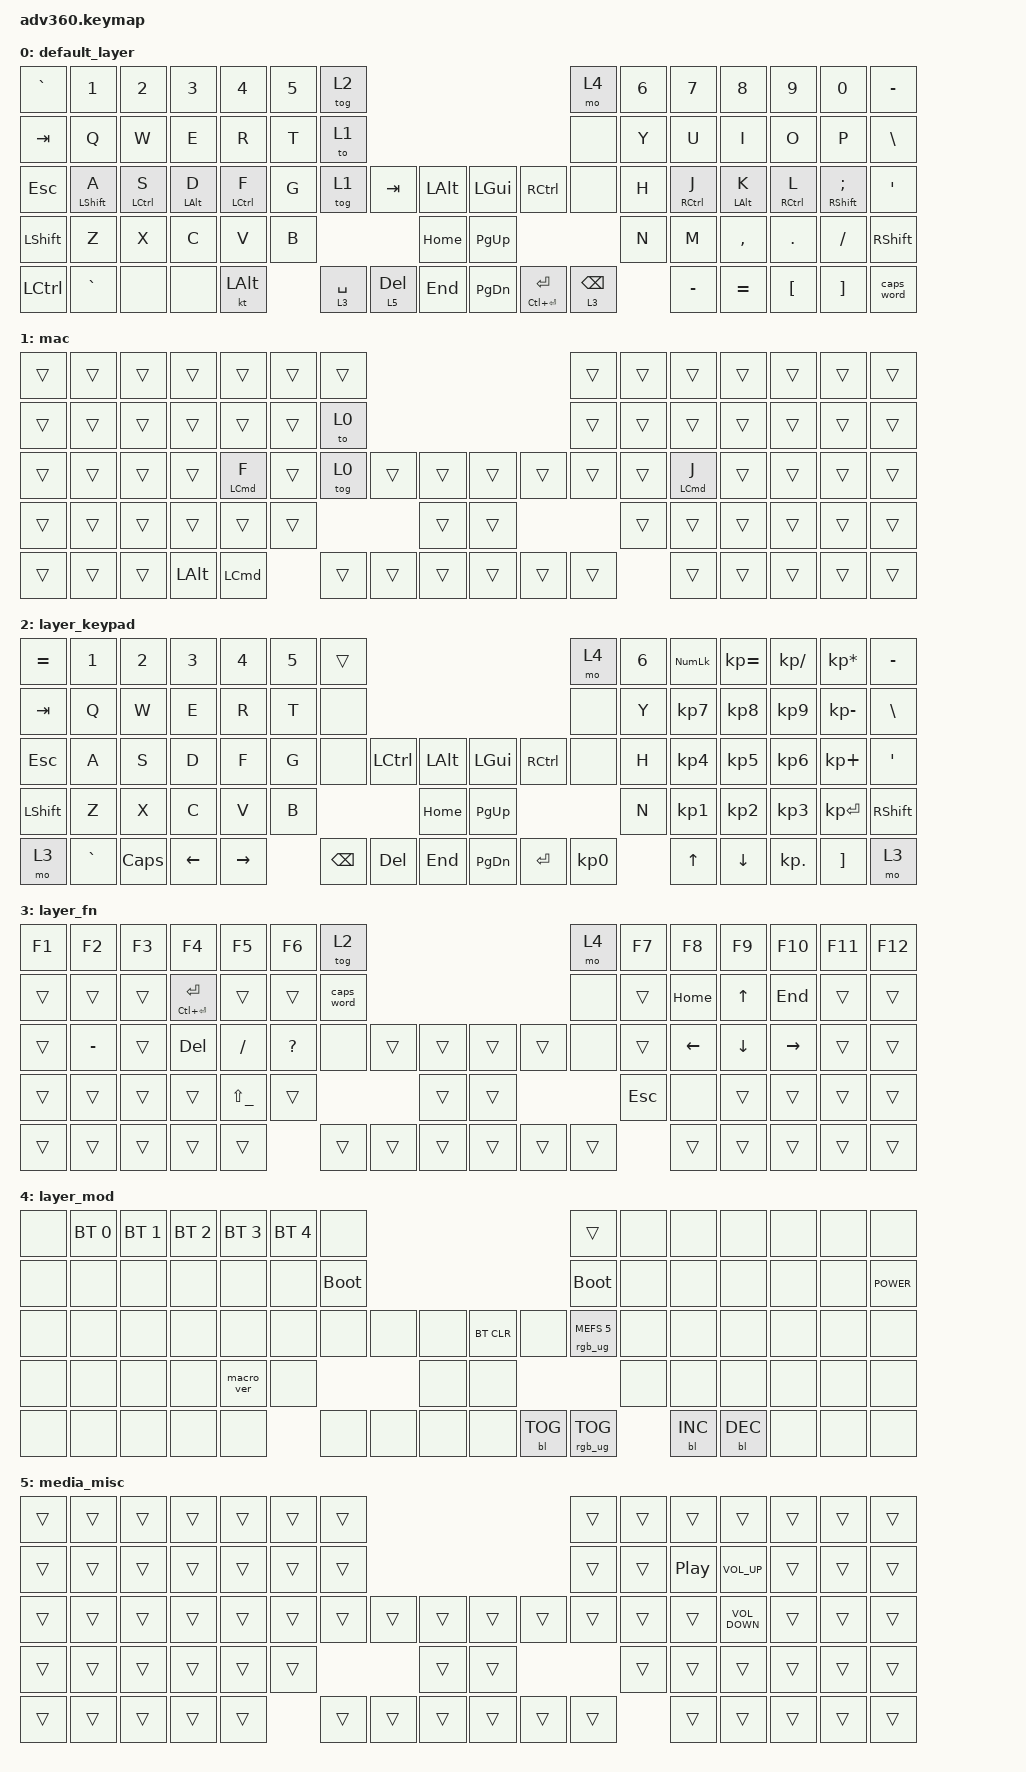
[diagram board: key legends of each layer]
/*
 * Copyright (c) 2020 The ZMK Contributors
 *
 * SPDX-License-Identifier: MIT
 */
/* THIS FILE WAS GENERATED!
 *
 * This file was generated automatically. You may or may not want to
 * edit it directly.
 */

#include <behaviors.dtsi>
#include <dt-bindings/zmk/backlight.h>
#include <dt-bindings/zmk/bt.h>
#include <dt-bindings/zmk/keys.h>
#include <dt-bindings/zmk/keys.h>
#include <dt-bindings/zmk/rgb.h>

/ {
    behaviors {
        #include "macros.dtsi"
    #include "version.dtsi"

        hm: homerow_mods {
            compatible = "zmk,behavior-hold-tap";
            label = "HOMEROW_MODS";
            #binding-cells = <2>;
            tapping-term-ms = <200>;
            quick_tap_ms = <175>;
            flavor = "tap-preferred";
            bindings = <&kp>, <&kp>;
        };
    };

    keymap {
        compatible = "zmk,keymap";

        default_layer {
            bindings = <
&kp GRAVE  &kp N1            &kp N2       &kp N3          &kp N4       &kp N5  &tog 2                                                                   &mo 4            &kp N6  &kp N7       &kp N8          &kp N9       &kp N0                     &kp MINUS
&kp TAB    &kp Q             &kp W        &kp E           &kp R        &kp T   &to 1                                                                    &none            &kp Y   &kp U        &kp I           &kp O        &kp P                      &kp BSLH
&kp ESC    &hm LEFT_SHIFT A  &hm LCTRL S  &hm LEFT_ALT D  &hm LCTRL F  &kp G   &tog 1       &kp TAB       &kp LALT      &kp LGUI   &kp RCTRL            &none            &kp H   &hm RCTRL J  &hm LEFT_ALT K  &hm RCTRL L  &hm RIGHT_SHIFT SEMICOLON  &kp SQT
&kp LSHFT  &kp Z             &kp X        &kp C           &kp V        &kp B                              &kp HOME      &kp PG_UP                                        &kp N   &kp M        &kp COMMA       &kp DOT      &kp FSLH                   &kp RSHFT
&kp LCTRL  &kp GRAVE         &none        &none           &kt LALT             &lt 3 SPACE  &lt 5 DELETE  &kp END       &kp PG_DN  &mt LC(ENTER) ENTER  &lt 3 BACKSPACE          &kp MINUS    &kp EQUAL       &kp LBKT     &kp RBKT                   &caps_word
            >;
        };

        mac {
            bindings = <
&trans  &trans  &trans  &trans        &trans              &trans  &trans                                      &trans  &trans  &trans              &trans  &trans  &trans  &trans
&trans  &trans  &trans  &trans        &trans              &trans  &to 0                                       &trans  &trans  &trans              &trans  &trans  &trans  &trans
&trans  &trans  &trans  &trans        &hm LEFT_COMMAND F  &trans  &tog 0  &trans  &trans      &trans  &trans  &trans  &trans  &hm LEFT_COMMAND J  &trans  &trans  &trans  &trans
&trans  &trans  &trans  &trans        &trans              &trans                  &trans      &trans                  &trans  &trans              &trans  &trans  &trans  &trans
&trans  &trans  &trans  &kp LEFT_ALT  &kp LEFT_COMMAND            &trans  &trans  &trans      &trans  &trans  &trans          &trans              &trans  &trans  &trans  &trans
            >;
        };

        layer_keypad {
            bindings = <
&kp EQUAL  &kp N1     &kp N2    &kp N3    &kp N4     &kp N5  &trans                                                   &mo 4      &kp N6  &kp KP_NUM  &kp KP_EQUAL  &kp KP_DIVIDE  &kp KP_MULTIPLY  &kp MINUS
&kp TAB    &kp Q      &kp W     &kp E     &kp R      &kp T   &none                                                    &none      &kp Y   &kp KP_N7   &kp KP_N8     &kp KP_N9      &kp KP_MINUS     &kp BSLH
&kp ESC    &kp A      &kp S     &kp D     &kp F      &kp G   &none     &kp LCTRL  &kp LALT      &kp LGUI   &kp RCTRL  &none      &kp H   &kp KP_N4   &kp KP_N5     &kp KP_N6      &kp KP_PLUS      &kp SQT
&kp LSHFT  &kp Z      &kp X     &kp C     &kp V      &kp B                        &kp HOME      &kp PG_UP                        &kp N   &kp KP_N1   &kp KP_N2     &kp KP_N3      &kp KP_ENTER     &kp RSHFT
&mo 3      &kp GRAVE  &kp CAPS  &kp LEFT  &kp RIGHT          &kp BSPC  &kp DEL    &kp END       &kp PG_DN  &kp ENTER  &kp KP_N0          &kp UP      &kp DOWN      &kp KP_DOT     &kp RBKT         &mo 3
            >;
        };

        layer_fn {
            bindings = <
&kp F1  &kp F2     &kp F3  &kp F4               &kp F5         &kp F6        &tog 2                                          &mo 4   &kp F7      &kp F8    &kp F9        &kp F10    &kp F11  &kp F12
&trans  &trans     &trans  &mt LC(ENTER) ENTER  &trans         &trans        &caps_word                                      &none   &trans      &kp HOME  &kp UP_ARROW  &kp END    &trans   &trans
&trans  &kp MINUS  &trans  &kp DEL              &kp SLASH      &kp QUESTION  &none       &trans  &trans      &trans  &trans  &none   &trans      &kp LEFT  &kp DOWN      &kp RIGHT  &trans   &trans
&trans  &trans     &trans  &trans               &kp LS(UNDER)  &trans                            &trans      &trans                  &kp ESCAPE  &none     &trans        &trans     &trans   &trans
&trans  &trans     &trans  &trans               &trans                       &trans      &trans  &trans      &trans  &trans  &trans              &trans    &trans        &trans     &trans   &trans
            >;
        };

        layer_mod {
            bindings = <
&none  &bt BT_SEL 0  &bt BT_SEL 1  &bt BT_SEL 2  &bt BT_SEL 3  &bt BT_SEL 4  &none                                                  &trans                  &none  &none       &none       &none  &none  &none
&none  &none         &none         &none         &none         &none         &bootloader                                            &bootloader             &none  &none       &none       &none  &none  &kp C_POWER
&none  &none         &none         &none         &none         &none         &none        &none  &none      &bt BT_CLR  &none       &rgb_ug RGB_MEFS_CMD 5  &none  &none       &none       &none  &none  &none
&none  &none         &none         &none         &macro_ver    &none                             &none      &none                                           &none  &none       &none       &none  &none  &none
&none  &none         &none         &none         &none                       &none        &none  &none      &none       &bl BL_TOG  &rgb_ug RGB_TOG                &bl BL_INC  &bl BL_DEC  &none  &none  &none
            >;
        };

        media_misc {
            bindings = <
&trans  &trans  &trans  &trans  &trans  &trans  &trans                                      &trans  &trans  &trans            &trans             &trans  &trans  &trans
&trans  &trans  &trans  &trans  &trans  &trans  &trans                                      &trans  &trans  &kp C_PLAY_PAUSE  &kp C_VOLUME_UP    &trans  &trans  &trans
&trans  &trans  &trans  &trans  &trans  &trans  &trans  &trans  &trans      &trans  &trans  &trans  &trans  &trans            &kp C_VOLUME_DOWN  &trans  &trans  &trans
&trans  &trans  &trans  &trans  &trans  &trans                  &trans      &trans                  &trans  &trans            &trans             &trans  &trans  &trans
&trans  &trans  &trans  &trans  &trans          &trans  &trans  &trans      &trans  &trans  &trans          &trans            &trans             &trans  &trans  &trans
            >;
        };
    };
};
